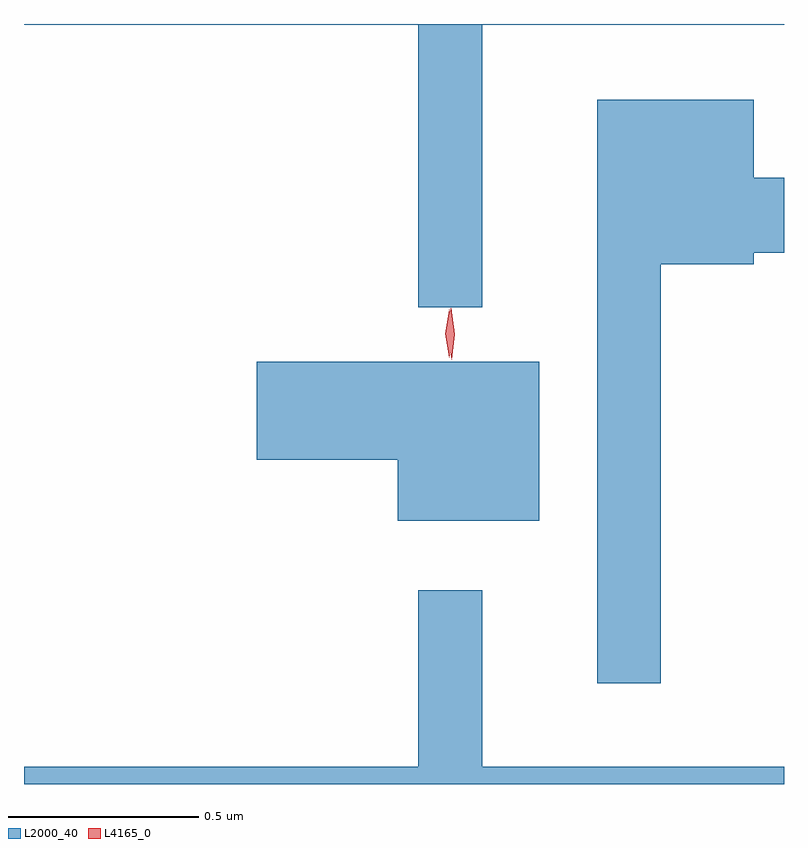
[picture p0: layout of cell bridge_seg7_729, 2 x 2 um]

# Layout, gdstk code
import gdstk
lib = gdstk.Library(unit=1e-6, precision=1e-09)
def P(c, l, *ps):  # polygons
    for p in ps: c.add(gdstk.Polygon(p, *l))
L2000_40 = (2000, 40)
L4165_0 = (4165, 0)

bridge_seg7_729 = lib.new_cell('bridge_seg7_729')
P(bridge_seg7_729, L2000_40, [(903.719,1732.076),(904.513,1732.076),(904.513,1732.078),(902.513,1732.078),(902.513,1732.076),(903.551,1732.076),(903.551,1731.333),(903.719,1731.333)],
  [(904.189,1731.446),(904.434,1731.446),(904.434,1731.476),(904.513,1731.476),(904.513,1731.674),(904.434,1731.674),(904.434,1731.879),(904.021,1731.879),(904.021,1730.343),(904.189,1730.343)],
  [(903.869,1731.189),(903.126,1731.189),(903.126,1730.931),(903.496,1730.931),(903.496,1730.771),(903.869,1730.771)],
  [(904.513,1730.124),(903.719,1730.124),(903.719,1730.588),(903.551,1730.588),(903.551,1730.124),(902.513,1730.124),(902.513,1730.078),(904.513,1730.078)])
P(bridge_seg7_729, L4165_0, [(903.638,1731.194),(903.638,1731.194),(903.628,1731.262),(903.636,1731.33),(903.637,1731.33),(903.637,1731.33),(903.647,1731.262),(903.638,1731.194)],
  [(903.632,1731.2),(903.632,1731.2),(903.622,1731.263),(903.632,1731.326),(903.632,1731.327),(903.632,1731.326),(903.642,1731.263),(903.632,1731.2)])

lib.write_gds('bridge_seg7_729.gds')
